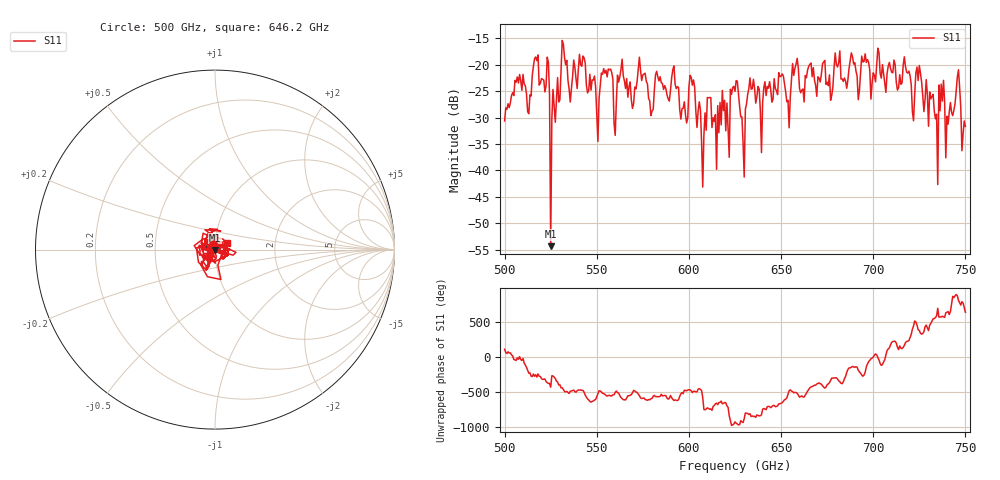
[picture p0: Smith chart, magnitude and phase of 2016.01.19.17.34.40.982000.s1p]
!Created with skrf (http://scikit-rf.org).
# GHz S RI R 50.0
!freq ReS11 ImS11
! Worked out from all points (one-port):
!   401 points, 500 GHz to 750 GHz, reference 50 ohm
!   lowest |S11| = -54.4 dB at 525 GHz (marker M1), VSWR 1.00, Z = 50.1 - j0.181 ohm
!   |S11| at or under -10 dB: start of sweep to end of sweep
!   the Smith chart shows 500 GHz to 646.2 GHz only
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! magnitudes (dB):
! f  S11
! 500 GHz  -30.7
! 506.9 GHz  -22.3
! 513.1 GHz  -29.3
! 516.9 GHz  -18.5
! 523.1 GHz  -18.6
! 525 GHz  -54.4
! 526.2 GHz  -24.7
! 531.2 GHz  -15.4
! 535.6 GHz  -27.1
! 541.9 GHz  -20.3
! 550.6 GHz  -34.5
! 562.5 GHz  -22.3
! 593.8 GHz  -24.2
! 598.1 GHz  -29.4
! 601.9 GHz  -23.9
! 608.1 GHz  -33.3
! 610.6 GHz  -26.3
! 620.6 GHz  -27.3
! 625 GHz  -25.0
! 629.4 GHz  -34.8
! 633.8 GHz  -24.6
! 653.8 GHz  -26.8
! 656.2 GHz  -19.8
! 687.5 GHz  -19.2
! 718.8 GHz  -21.6
! 733.8 GHz  -30.3
! 746.2 GHz  -21.0
! 750 GHz  -31.7
